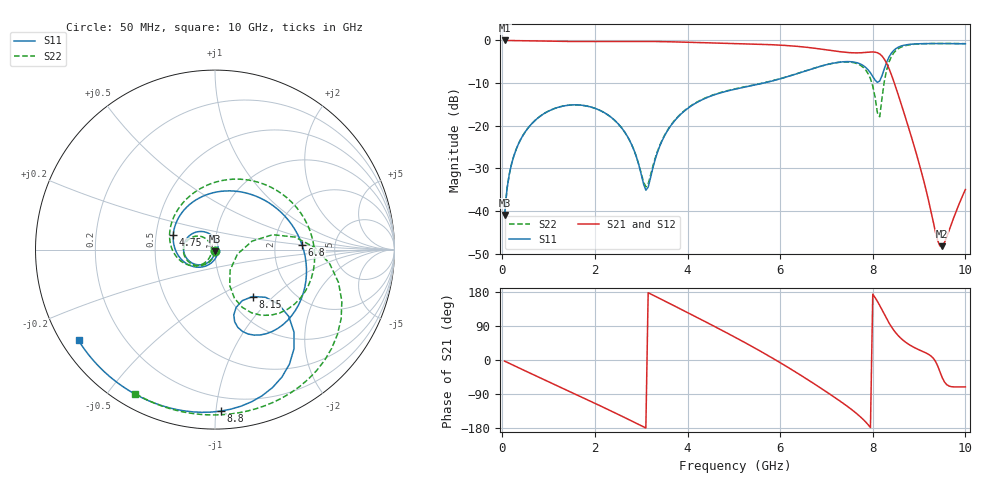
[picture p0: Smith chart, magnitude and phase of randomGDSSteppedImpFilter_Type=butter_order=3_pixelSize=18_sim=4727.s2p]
! freq	dB(S11)	phase(S11)	dB(S12)	phase(S12)
!  dB(S21)	phase(S21)	dB(S22)	phase(S22)
!S-par simulation data
#  GHz  S  DB  R 50
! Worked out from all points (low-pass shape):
!   200 points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, 50 MHz to 10 GHz, reference 50 ohm
!   highest |S21| = 0.00 dB at 50 MHz (marker M1); lowest = -48.2 dB at 9.5 GHz (marker M2)
!   |S21| within 3 dB of the highest: start of sweep to 8.121 GHz
!   lowest |S11| = -40.9 dB at 50 MHz (marker M3), VSWR 1.02, Z = 50 - j0.896 ohm
!   |S11| at or under -10 dB: start of sweep to 5.642 GHz
!   |S22| runs from -40.9 to -0.7 dB; largest |S21 - S12| = 0
!   S11 on the Smith chart (normalised r, x): 50 MHz: 1.00, -0.02; 4.75 GHz: 0.62, +0.11; 6.8 GHz: 2.87, +0.20; 8.15 GHz: 1.28, -0.75; 8.8 GHz: 0.11, -1.03; 10 GHz: 0.05, -0.30
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0.05  -40.94 -92.5  -0.00 -2.9  -0.00 -2.9  -40.93 -92.4
0.2  -28.96 -102.0  -0.02 -11.7  -0.02 -11.7  -28.96 -101.3
0.5  -21.36 -120.1  -0.07 -29.0  -0.07 -29.0  -21.36 -118.3
1.15  -15.87 -158.9  -0.19 -66.0  -0.19 -66.0  -15.87 -154.3
1.75  -15.24 165.1  -0.25 -100.0  -0.25 -100.0  -15.24 173.5
2.6  -20.83 108.1  -0.22 -149.3  -0.22 -149.3  -20.84 132.5
3.1  -35.11 3.7  -0.23 -179.4  -0.23 -179.4  -34.34 178.2
3.4  -24.80 -93.8  -0.27 162.2  -0.27 162.2  -24.61 -124.3
4.1  -15.21 -152.0  -0.45 118.9  -0.45 118.9  -15.13 -151.4
4.75  -12.17 160.8  -0.65 77.9  -0.65 77.9  -12.09 173.9
5.05  -11.37 138.4  -0.73 58.4  -0.73 58.4  -11.30 157.3
5.9  -9.30 72.1  -1.04 0.3  -1.04 0.3  -9.26 106.6
6.7  -6.60 10.6  -1.77 -60.1  -1.77 -60.1  -6.61 47.9
6.8  -6.27 3.2  -1.90 -68.0  -1.90 -68.0  -6.28 39.8
7.55  -5.01 -51.5  -2.89 -131.4  -2.89 -131.4  -5.13 -25.1
7.9  -6.90 -73.6  -2.76 -170.7  -2.76 -170.7  -7.81 -59.9
8.15  -9.50 -51.3  -3.17 143.8  -3.17 143.8  -17.89 -11.4
8.35  -3.91 -46.3  -6.59 98.1  -6.59 98.1  -5.08 1.1
8.55  -1.59 -67.4  -12.75 64.3  -12.75 64.3  -1.92 -28.7
8.8  -0.91 -88.0  -21.38 39.5  -21.38 39.5  -1.01 -54.3
9.5  -0.73 -125.5  -48.24 -46.6  -48.24 -46.6  -0.71 -97.0
10  -0.79 -146.3  -34.96 -71.1  -34.96 -71.1  -0.75 -118.9
